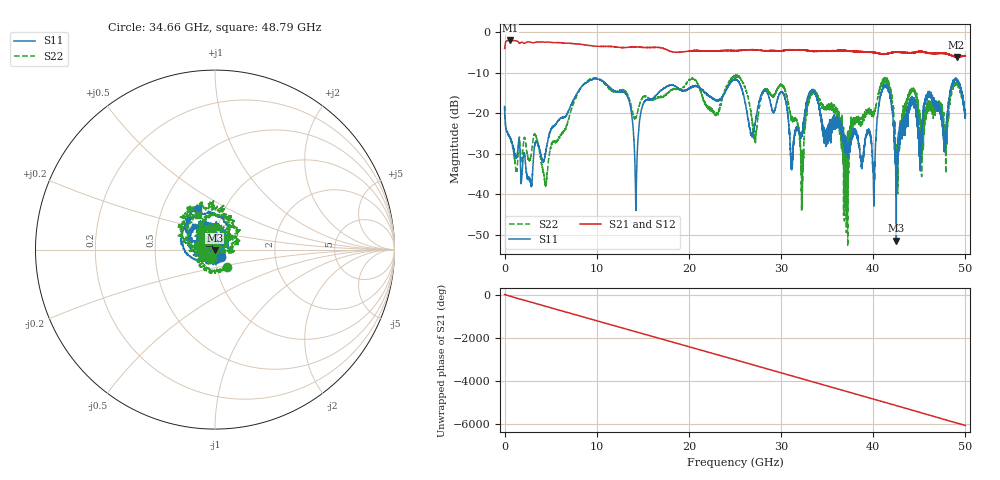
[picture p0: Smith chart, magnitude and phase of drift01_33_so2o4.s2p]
!Created with skrf (http://scikit-rf.org).
# Hz S RI R 50.0
!freq ReS11 ImS11 ReS21 ImS21 ReS12 ImS12 ReS22 ImS22
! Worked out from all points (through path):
!   10001 points, 300 kHz to 50 GHz, reference 50 ohm
!   highest |S21| = -2.00 dB at 575.3 MHz (marker M1); lowest = -6.1 dB at 49.05 GHz (marker M2)
!   group delay of S21, straight-line fit = 336 ps
!   lowest |S11| = -51.4 dB at 42.51 GHz (marker M3), VSWR 1.01, Z = 49.9 - j0.246 ohm
!   |S11| at or under -10 dB: start of sweep to end of sweep
!   |S22| runs from -52.8 to -10.6 dB; largest |S21 - S12| = 0.02
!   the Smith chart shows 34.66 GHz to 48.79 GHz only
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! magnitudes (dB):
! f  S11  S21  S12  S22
! 300 kHz  -18.4  -4.0  -4.1  -18.1
! 575.3 MHz  -26.0  -2.0  -2.0  -26.0
! 4.435 GHz  -29.9  -2.4  -2.4  -37.1
! 8.335 GHz  -13.5  -3.0  -3.0  -13.5
! 13.17 GHz  -15.1  -3.7  -3.7  -14.6
! 14.25 GHz  -43.7  -3.6  -3.6  -21.1
! 16.67 GHz  -14.9  -3.7  -3.7  -15.9
! 25 GHz  -11.6  -4.5  -4.5  -10.9
! 27.15 GHz  -22.5  -4.3  -4.3  -26.0
! 30.2 GHz  -15.0  -4.5  -4.5  -13.3
! 31.15 GHz  -34.0  -4.3  -4.3  -20.9
! 32.25 GHz  -25.4  -4.3  -4.4  -39.9
! 33.34 GHz  -14.4  -4.6  -4.6  -14.5
! 36.05 GHz  -23.4  -4.6  -4.6  -21.0
! 37.04 GHz  -27.1  -4.5  -4.5  -27.8
! 40.06 GHz  -41.3  -4.9  -5.0  -20.3
! 41.67 GHz  -14.2  -5.1  -5.1  -12.6
! 42.51 GHz  -51.4  -4.9  -4.9  -28.0
! 44.14 GHz  -16.9  -5.0  -5.0  -14.4
! 47.73 GHz  -27.5  -5.2  -5.2  -28.7
! 49.05 GHz  -11.6  -6.1  -6.1  -12.5
! 50 GHz  -20.2  -5.8  -5.8  -19.7
